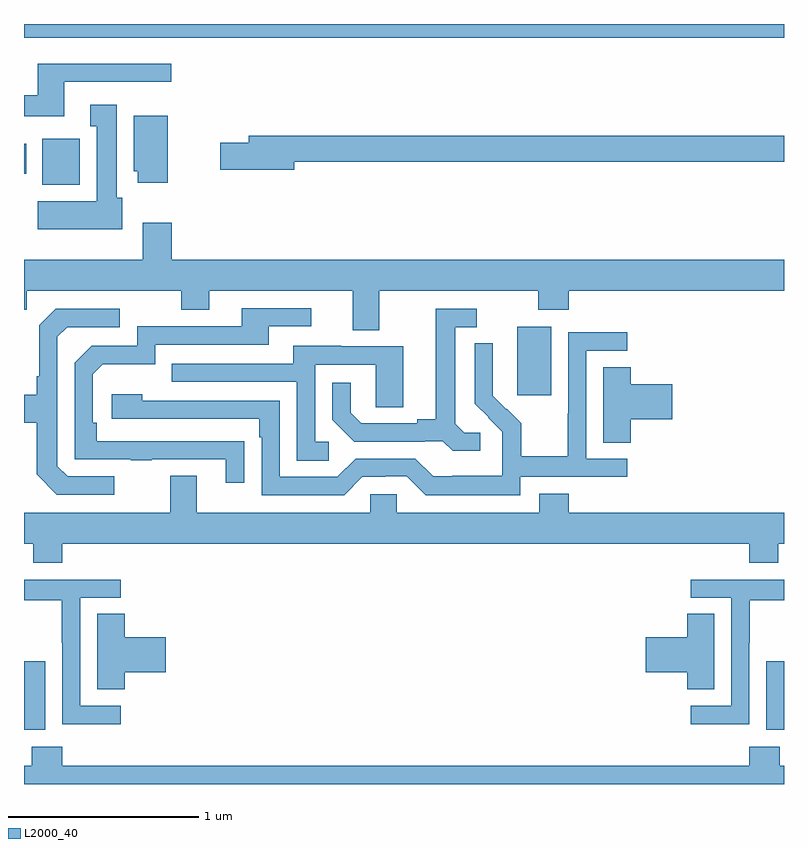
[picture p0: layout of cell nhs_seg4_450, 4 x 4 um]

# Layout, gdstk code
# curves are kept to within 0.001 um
import gdstk
lib = gdstk.Library(unit=1e-6, precision=1e-09)
def R(c, l, rs):  # rectangles x0, y0, x1, y1
    for r in rs: c.add(gdstk.rectangle(r[:2], r[2:], *l))
def P(c, l, *ps):  # polygons
    for p in ps: c.add(gdstk.Polygon(p, *l))
L2000_40 = (2000, 40)

nhs_seg4_450 = lib.new_cell('nhs_seg4_450')
R(nhs_seg4_450, L2000_40, [(133,785.186,133.111,785.547), (136.907,785.186,137,785.547), (135.596,786.945,135.775,787.306), (133.097,788.054,133.294,788.296), (133,788.113,133.012,788.269), (133,788.828,137,788.9)])
P(nhs_seg4_450, L2000_40, [(133.213,788.595),(133.774,788.595),(133.774,788.692),(133.073,788.692),(133.073,788.524),(133,788.524),(133,788.414),(133.213,788.414)],
  [(133.516,787.986),(133.489,787.986),(133.489,788.476),(133.349,788.476),(133.349,788.363),(133.382,788.363),(133.382,787.966),(133.073,787.966),(133.073,787.82),(133.516,787.82)],
  [(133.756,788.416),(133.577,788.416),(133.577,788.124),(133.598,788.124),(133.598,788.064),(133.756,788.064)],
  [(134.422,788.176),(137,788.176),(137,788.312),(134.183,788.312),(134.183,788.276),(134.034,788.276),(134.034,788.134),(134.422,788.134)],
  [(134.869,787.496),(135.706,787.496),(135.706,787.397),(135.866,787.397),(135.866,787.496),(137,787.496),(137,787.66),(133.778,787.66),(133.778,787.855),(133.625,787.855),(133.625,787.66),(133,787.66),(133,787.397),(133.014,787.397),(133.014,787.496),(133.828,787.496),(133.828,787.397),(133.975,787.397),(133.975,787.496),(134.729,787.496),(134.729,787.288),(134.869,787.288)],
  [(134.159,786.704),(133.382,786.705),(133.382,786.802),(133.362,786.802),(133.362,787.056),(133.415,787.109),(133.692,787.109),(133.692,787.212),(134.287,787.212),(134.287,787.308),(134.512,787.308),(134.512,787.404),(134.147,787.404),(134.147,787.308),(133.596,787.308),(133.596,787.206),(133.356,787.206),(133.266,787.116),(133.266,786.609),(133.561,786.609),(133.561,786.604),(133.673,786.604),(133.673,786.609),(134.063,786.609),(134.063,786.486),(134.159,786.486)],
  [(135.4,786.75),(135.318,786.75),(135.271,786.797),(135.271,787.305),(135.382,787.305),(135.382,787.401),(135.167,787.401),(135.167,786.821),(135.071,786.821),(135.071,786.798),(134.776,786.798),(134.719,786.855),(134.719,787.012),(134.622,787.012),(134.622,786.818),(134.738,786.702),(135.11,786.702),(135.11,786.705),(135.204,786.705),(135.256,786.653),(135.4,786.653)],
  [(133.474,786.519),(133.23,786.519),(133.176,786.573),(133.176,787.254),(133.227,787.305),(133.504,787.305),(133.504,787.401),(133.167,787.401),(133.08,787.314),(133.08,787.045),(133.068,787.045),(133.068,786.949),(133,786.949),(133,786.802),(133.068,786.802),(133.068,786.529),(133.173,786.423),(133.474,786.423)],
  [(135.612,786.516),(136.174,786.516),(136.174,786.612),(135.96,786.612),(135.96,787.179),(136.174,787.179),(136.174,787.278),(135.864,787.278),(135.864,786.848),(135.862,786.848),(135.862,786.625),(135.617,786.625),(135.617,786.799),(135.54,786.876),(135.537,786.873),(135.467,786.944),(135.468,787.22),(135.372,787.22),(135.372,786.902),(135.518,786.754),(135.518,786.657),(135.516,786.657),(135.516,786.523),(135.253,786.523),(135.253,786.519),(135.153,786.519),(135.06,786.612),(134.745,786.612),(134.649,786.516),(134.346,786.516),(134.346,786.918),(133.622,786.918),(133.622,786.952),(133.461,786.952),(133.461,786.822),(134.237,786.822),(134.237,786.725),(134.25,786.725),(134.25,786.42),(134.685,786.42),(134.781,786.516),(134.9,786.516),(134.9,786.519),(135.015,786.519),(135.115,786.419),(135.612,786.419)],
  [(134.605,786.702),(134.532,786.702),(134.532,787.107),(134.85,787.107),(134.85,786.883),(134.995,786.883),(134.995,787.203),(134.671,787.203),(134.671,787.207),(134.417,787.207),(134.417,787.113),(133.777,787.113),(133.777,787.017),(134.436,787.017),(134.436,786.601),(134.605,786.601)],
  [(136.193,786.821),(136.411,786.821),(136.411,787.004),(136.193,787.004),(136.193,787.094),(136.049,787.094),(136.049,786.697),(136.193,786.697)],
  [(133.202,786.164),(136.817,786.164),(136.817,786.065),(136.969,786.065),(136.969,786.164),(137,786.164),(137,786.328),(135.866,786.328),(135.866,786.427),(135.713,786.427),(135.713,786.328),(134.961,786.328),(134.961,786.426),(134.823,786.426),(134.823,786.328),(133.909,786.328),(133.909,786.523),(133.769,786.523),(133.769,786.328),(133,786.328),(133,786.164),(133.049,786.164),(133.049,786.065),(133.202,786.065)],
  [(133.51,785.313),(133.296,785.313),(133.296,785.88),(133.51,785.88),(133.51,785.976),(133,785.976),(133,785.868),(133.198,785.868),(133.198,785.644),(133.2,785.644),(133.2,785.215),(133.51,785.215)],
  [(136.818,785.644),(136.821,785.644),(136.821,785.868),(137,785.868),(137,785.976),(136.509,785.976),(136.509,785.88),(136.722,785.88),(136.722,785.313),(136.509,785.313),(136.509,785.215),(136.818,785.215)],
  [(136.633,785.795),(136.49,785.795),(136.49,785.672),(136.272,785.672),(136.272,785.489),(136.49,785.489),(136.49,785.398),(136.633,785.398)],
  [(133.529,785.489),(133.747,785.489),(133.747,785.672),(133.529,785.672),(133.529,785.795),(133.385,785.795),(133.385,785.398),(133.529,785.398)],
  [(137,784.996),(136.977,784.996),(136.977,785.095),(136.817,785.095),(136.817,784.996),(133.202,784.996),(133.202,785.095),(133.042,785.095),(133.042,784.996),(133,784.996),(133,784.9),(137,784.9)])

lib.write_gds('nhs_seg4_450.gds')
